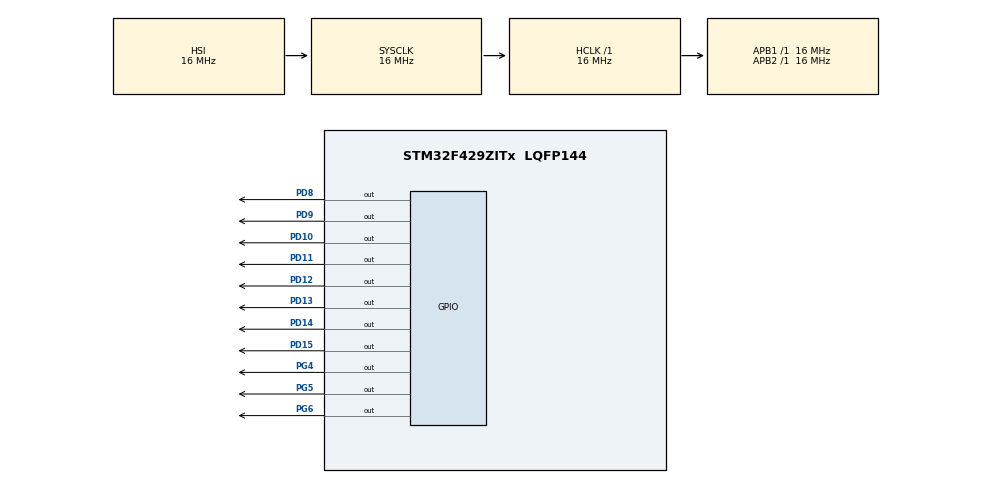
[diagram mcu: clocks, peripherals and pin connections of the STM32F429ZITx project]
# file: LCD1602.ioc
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Mcu.Family=STM32F4
Mcu.Name=STM32F429ZITx
Mcu.Package=LQFP144
NVIC.PriorityGroup=NVIC_PRIORITYGROUP_4
PD10.Signal=GPIO_Output
PD11.Signal=GPIO_Output
PD12.Signal=GPIO_Output
PD13.Signal=GPIO_Output
PD14.Signal=GPIO_Output
PD15.Signal=GPIO_Output
PD8.Signal=GPIO_Output
PD9.Signal=GPIO_Output
PG4.Signal=GPIO_Output
PG5.Signal=GPIO_Output
PG6.Signal=GPIO_Output
ProjectManager.HeapSize=0x200
ProjectManager.StackSize=0x400
ProjectManager.TargetToolchain=STM32CubeIDE
RCC.AHBFreq_Value=16000000
RCC.APB1Freq_Value=16000000
RCC.APB2Freq_Value=16000000
RCC.CortexFreq_Value=16000000
RCC.HSE_VALUE=25000000
RCC.HSI_VALUE=16000000
RCC.LSE_VALUE=32768
RCC.SYSCLKFreq_VALUE=16000000
RCC.VCOOutputFreq_Value=192000000
board=custom

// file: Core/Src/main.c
/* USER CODE BEGIN Header */
/**
  ******************************************************************************
  * @file           : main.c
  * @brief          : Main program body
  ******************************************************************************
  * @attention
  *
  * Copyright (c) 2024 STMicroelectronics.
  * All rights reserved.
  *
  * This software is licensed under terms that can be found in the LICENSE file
  * in the root directory of this software component.
  * If no LICENSE file comes with this software, it is provided AS-IS.
  *
  ******************************************************************************
  */
/* USER CODE END Header */
#include "main.h"

void SystemClock_Config(void);
static void MX_GPIO_Init(void);
/* USER CODE BEGIN PFP */
void LCD_Send_Command(char command)
{
	HAL_GPIO_WritePin(GPIOG, GPIO_PIN_4, GPIO_PIN_RESET); // RW
	HAL_GPIO_WritePin(GPIOG, GPIO_PIN_5, GPIO_PIN_RESET); // RS

	HAL_GPIO_WritePin(GPIOD, GPIO_PIN_14, (command & 0x01) ? GPIO_PIN_SET : GPIO_PIN_RESET); // D0
	HAL_GPIO_WritePin(GPIOD, GPIO_PIN_15, (command & 0x02) ? GPIO_PIN_SET : GPIO_PIN_RESET); // D1
	HAL_GPIO_WritePin(GPIOD, GPIO_PIN_12, (command & 0x04) ? GPIO_PIN_SET : GPIO_PIN_RESET); // D2
	HAL_GPIO_WritePin(GPIOD, GPIO_PIN_13, (command & 0x08) ? GPIO_PIN_SET : GPIO_PIN_RESET); // D3
	HAL_GPIO_WritePin(GPIOD, GPIO_PIN_10, (command & 0x10) ? GPIO_PIN_SET : GPIO_PIN_RESET); // D4
	HAL_GPIO_WritePin(GPIOD, GPIO_PIN_11, (command & 0x20) ? GPIO_PIN_SET : GPIO_PIN_RESET); // D5
	HAL_GPIO_WritePin(GPIOD, GPIO_PIN_8, (command & 0x40) ? GPIO_PIN_SET : GPIO_PIN_RESET); // D6
	HAL_GPIO_WritePin(GPIOD, GPIO_PIN_9, (command & 0x80) ? GPIO_PIN_SET : GPIO_PIN_RESET); // D7

	HAL_GPIO_WritePin(GPIOG, GPIO_PIN_6, GPIO_PIN_RESET); // E
	HAL_Delay(1);
	HAL_GPIO_WritePin(GPIOG, GPIO_PIN_6, GPIO_PIN_SET); // E
	HAL_Delay(1);
	HAL_GPIO_WritePin(GPIOG, GPIO_PIN_6, GPIO_PIN_RESET); // E
	HAL_Delay(1);
}

void LCD_Send_Data(char data)
{
	HAL_GPIO_WritePin(GPIOG, GPIO_PIN_4, GPIO_PIN_RESET); // RW
	HAL_GPIO_WritePin(GPIOG, GPIO_PIN_5, GPIO_PIN_SET); // RS

	HAL_GPIO_WritePin(GPIOD, GPIO_PIN_14, (data & 0x01) ? GPIO_PIN_SET : GPIO_PIN_RESET); // D0
	HAL_GPIO_WritePin(GPIOD, GPIO_PIN_15, (data & 0x02) ? GPIO_PIN_SET : GPIO_PIN_RESET); // D1
	HAL_GPIO_WritePin(GPIOD, GPIO_PIN_12, (data & 0x04) ? GPIO_PIN_SET : GPIO_PIN_RESET); // D2
	HAL_GPIO_WritePin(GPIOD, GPIO_PIN_13, (data & 0x08) ? GPIO_PIN_SET : GPIO_PIN_RESET); // D3
	HAL_GPIO_WritePin(GPIOD, GPIO_PIN_10, (data & 0x10) ? GPIO_PIN_SET : GPIO_PIN_RESET); // D4
	HAL_GPIO_WritePin(GPIOD, GPIO_PIN_11, (data & 0x20) ? GPIO_PIN_SET : GPIO_PIN_RESET); // D5
	HAL_GPIO_WritePin(GPIOD, GPIO_PIN_8, (data & 0x40) ? GPIO_PIN_SET : GPIO_PIN_RESET); // D6
	HAL_GPIO_WritePin(GPIOD, GPIO_PIN_9, (data & 0x80) ? GPIO_PIN_SET : GPIO_PIN_RESET); // D7

	HAL_GPIO_WritePin(GPIOG, GPIO_PIN_6, GPIO_PIN_RESET); // E
	HAL_Delay(1);
	HAL_GPIO_WritePin(GPIOG, GPIO_PIN_6, GPIO_PIN_SET); // E
	HAL_Delay(1);
	HAL_GPIO_WritePin(GPIOG, GPIO_PIN_6, GPIO_PIN_RESET); // E
	HAL_Delay(1);
}

void LCD_Send_String(char* str)
{
	for (unsigned int i = 0; str[i] != 0; i++)
	{
		LCD_Send_Data(str[i]);
	}
}

void LCD_Init()
{
    LCD_Send_Command(0x38); // 8-bit mode, 2 lines
    LCD_Send_Command(0x0E); // Turn on display, turn on cursor
    LCD_Send_Command(0x01); // Clear screen
}

/* USER CODE END PFP */

int main(void)
{

  /* MCU Configuration--------------------------------------------------------*/

  /* Reset of all peripherals, Initializes the Flash interface and the Systick. */
  HAL_Init();

  /* Configure the system clock */
  SystemClock_Config();

  /* Initialize all configured peripherals */
  MX_GPIO_Init();
  /* USER CODE BEGIN 2 */
  LCD_Init();
  LCD_Send_Command(0x80); // Move cursor to the beginning of the first line
  LCD_Send_String("Hello K66 Talent");
  LCD_Send_Command(0xC0); // Move cursor to the beginning of the second line
  LCD_Send_String("****************");
  /* USER CODE END 2 */

  /* Infinite loop */
  while (1)
  {

  }
}

void SystemClock_Config(void)
{
  RCC_OscInitTypeDef RCC_OscInitStruct = {0};
  RCC_ClkInitTypeDef RCC_ClkInitStruct = {0};

  /** Configure the main internal regulator output voltage
  */
  __HAL_RCC_PWR_CLK_ENABLE();
  __HAL_PWR_VOLTAGESCALING_CONFIG(PWR_REGULATOR_VOLTAGE_SCALE3);

  /** Initializes the RCC Oscillators according to the specified parameters
  * in the RCC_OscInitTypeDef structure.
  */
  RCC_OscInitStruct.OscillatorType = RCC_OSCILLATORTYPE_HSI;
  RCC_OscInitStruct.HSIState = RCC_HSI_ON;
  RCC_OscInitStruct.HSICalibrationValue = RCC_HSICALIBRATION_DEFAULT;
  RCC_OscInitStruct.PLL.PLLState = RCC_PLL_NONE;
  if (HAL_RCC_OscConfig(&RCC_OscInitStruct) != HAL_OK)
  {
    Error_Handler();
  }

  /** Initializes the CPU, AHB and APB buses clocks
  */
  RCC_ClkInitStruct.ClockType = RCC_CLOCKTYPE_HCLK|RCC_CLOCKTYPE_SYSCLK
                              |RCC_CLOCKTYPE_PCLK1|RCC_CLOCKTYPE_PCLK2;
  RCC_ClkInitStruct.SYSCLKSource = RCC_SYSCLKSOURCE_HSI;
  RCC_ClkInitStruct.AHBCLKDivider = RCC_SYSCLK_DIV1;
  RCC_ClkInitStruct.APB1CLKDivider = RCC_HCLK_DIV1;
  RCC_ClkInitStruct.APB2CLKDivider = RCC_HCLK_DIV1;

  if (HAL_RCC_ClockConfig(&RCC_ClkInitStruct, FLASH_LATENCY_0) != HAL_OK)
  {
    Error_Handler();
  }
}

static void MX_GPIO_Init(void)
{
  GPIO_InitTypeDef GPIO_InitStruct = {0};

  /* GPIO Ports Clock Enable */
  __HAL_RCC_GPIOD_CLK_ENABLE();
  __HAL_RCC_GPIOG_CLK_ENABLE();

  /*Configure GPIO pin Output Level */
  HAL_GPIO_WritePin(GPIOD, GPIO_PIN_8|GPIO_PIN_9|GPIO_PIN_10|GPIO_PIN_11
                          |GPIO_PIN_12|GPIO_PIN_13|GPIO_PIN_14|GPIO_PIN_15, GPIO_PIN_RESET);

  /*Configure GPIO pin Output Level */
  HAL_GPIO_WritePin(GPIOG, GPIO_PIN_4|GPIO_PIN_5|GPIO_PIN_6, GPIO_PIN_RESET);

  /*Configure GPIO pins : PD8 PD9 PD10 PD11
                           PD12 PD13 PD14 PD15 */
  GPIO_InitStruct.Pin = GPIO_PIN_8|GPIO_PIN_9|GPIO_PIN_10|GPIO_PIN_11
                          |GPIO_PIN_12|GPIO_PIN_13|GPIO_PIN_14|GPIO_PIN_15;
  GPIO_InitStruct.Mode = GPIO_MODE_OUTPUT_PP;
  GPIO_InitStruct.Pull = GPIO_NOPULL;
  GPIO_InitStruct.Speed = GPIO_SPEED_FREQ_LOW;
  HAL_GPIO_Init(GPIOD, &GPIO_InitStruct);

  /*Configure GPIO pins : PG4 PG5 PG6 */
  GPIO_InitStruct.Pin = GPIO_PIN_4|GPIO_PIN_5|GPIO_PIN_6;
  GPIO_InitStruct.Mode = GPIO_MODE_OUTPUT_PP;
  GPIO_InitStruct.Pull = GPIO_NOPULL;
  GPIO_InitStruct.Speed = GPIO_SPEED_FREQ_LOW;
  HAL_GPIO_Init(GPIOG, &GPIO_InitStruct);

}

void Error_Handler(void)
{
  __disable_irq();
  while (1)
  {
  }
}
